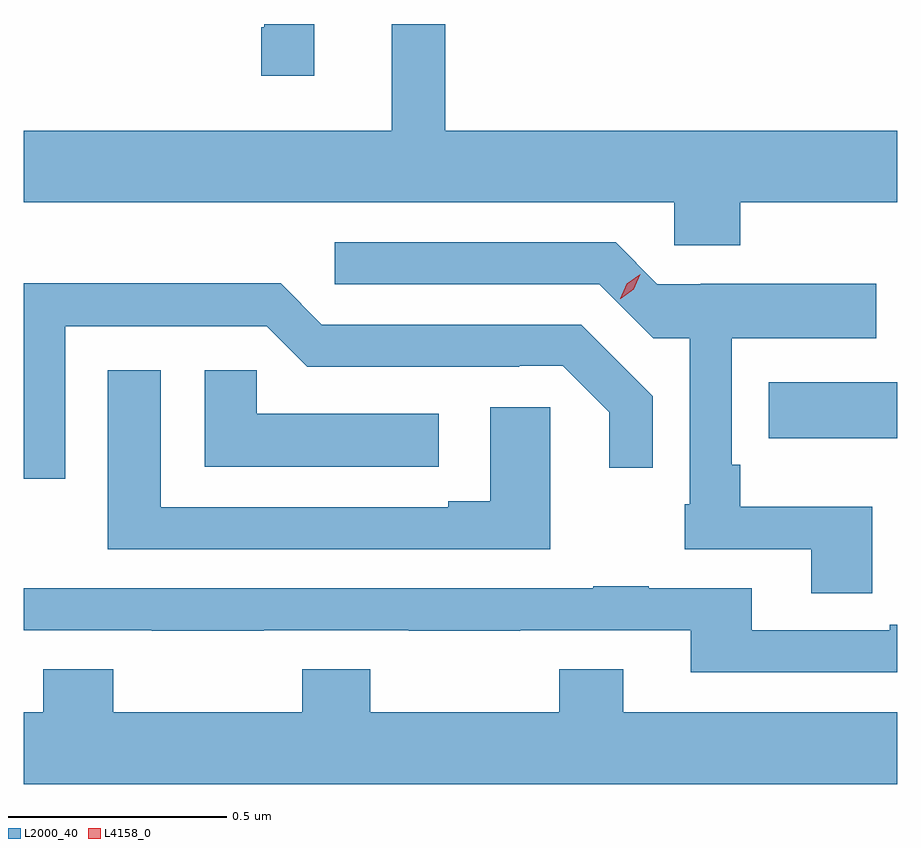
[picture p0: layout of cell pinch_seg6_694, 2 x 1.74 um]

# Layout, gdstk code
import gdstk
lib = gdstk.Library(unit=1e-6, precision=1e-09)
def R(c, l, rs):  # rectangles x0, y0, x1, y1
    for r in rs: c.add(gdstk.rectangle(r[:2], r[2:], *l))
def P(c, l, *ps):  # polygons
    for p in ps: c.add(gdstk.Polygon(p, *l))
L2000_40 = (2000, 40)
L4158_0 = (4158, 0)

pinch_seg6_694 = lib.new_cell('pinch_seg6_694')
R(pinch_seg6_694, L2000_40, [(486.112,920.156,486.406,920.284)])
P(pinch_seg6_694, L2000_40, [(486.047,920.696),(486.406,920.696),(486.406,920.86),(485.371,920.86),(485.371,921.104),(485.249,921.104),(485.249,920.86),(484.406,920.86),(484.406,920.696),(485.895,920.696),(485.895,920.598),(486.047,920.598)],
  [(485.071,921.104),(484.957,921.104),(484.957,921.097),(484.95,921.097),(484.95,920.985),(485.071,920.985)],
  [(486.349,919.999),(486.047,919.999),(486.047,920.095),(486.027,920.095),(486.027,920.384),(486.358,920.384),(486.358,920.509),(485.956,920.509),(485.956,920.508),(485.857,920.508),(485.761,920.604),(485.118,920.604),(485.118,920.508),(485.724,920.508),(485.847,920.385),(485.931,920.385),(485.931,920.005),(485.919,920.005),(485.919,919.902),(486.209,919.902),(486.209,919.801),(486.349,919.801)],
  [(484.501,920.412),(484.962,920.412),(485.055,920.319),(485.54,920.319),(485.54,920.322),(485.64,920.322),(485.747,920.215),(485.747,920.088),(485.846,920.088),(485.846,920.252),(485.683,920.415),(485.088,920.415),(484.994,920.51),(484.406,920.51),(484.406,920.063),(484.501,920.063)],
  [(485.612,920.227),(485.474,920.227),(485.474,920.011),(485.378,920.011),(485.378,919.998),(484.72,919.998),(484.72,920.311),(484.598,920.311),(484.598,919.902),(485.612,919.902)],
  [(485.356,920.212),(484.94,920.212),(484.94,920.311),(484.82,920.311),(484.82,920.09),(485.356,920.09)],
  [(486.406,919.729),(486.389,919.729),(486.389,919.716),(486.073,919.716),(486.073,919.812),(485.837,919.812),(485.837,919.817),(485.71,919.817),(485.71,919.812),(484.406,919.812),(484.406,919.716),(484.699,919.716),(484.699,919.715),(484.955,919.715),(484.955,919.716),(485.287,919.716),(485.287,919.715),(485.543,919.715),(485.543,919.716),(485.933,919.716),(485.933,919.62),(486.406,919.62)],
  [(486.406,919.528),(485.779,919.528),(485.779,919.627),(485.632,919.627),(485.632,919.528),(485.199,919.528),(485.199,919.627),(485.044,919.627),(485.044,919.528),(484.611,919.528),(484.611,919.627),(484.451,919.627),(484.451,919.528),(484.406,919.528),(484.406,919.364),(486.406,919.364)])
P(pinch_seg6_694, L4158_0, [(485.772,920.475),(485.772,920.475),(485.787,920.509),(485.818,920.531),(485.818,920.531),(485.818,920.531),(485.803,920.497),(485.773,920.475)])

lib.write_gds('pinch_seg6_694.gds')
